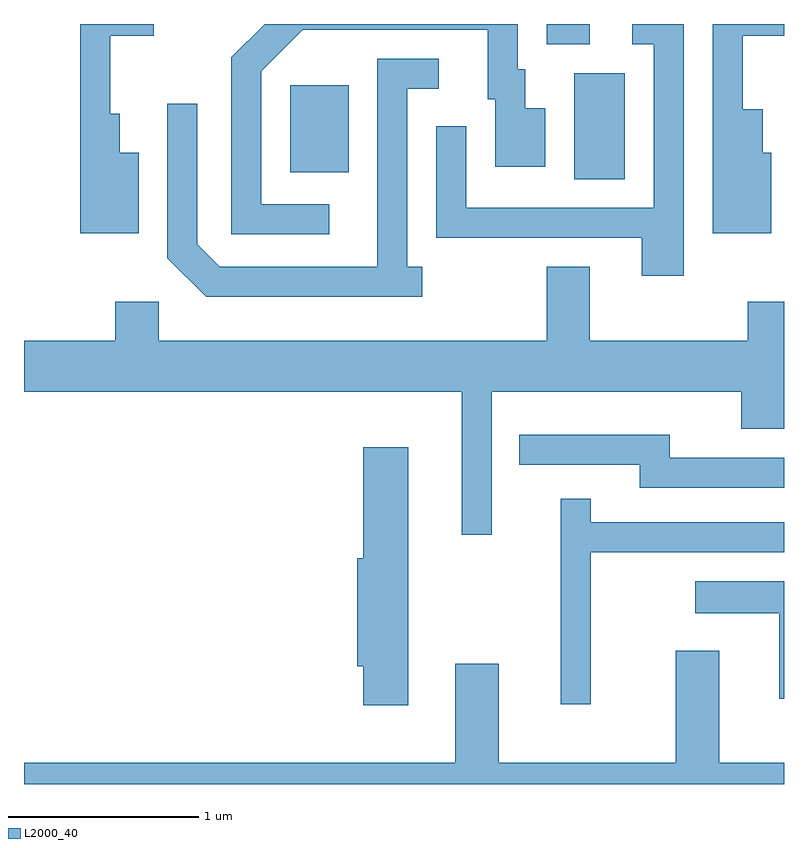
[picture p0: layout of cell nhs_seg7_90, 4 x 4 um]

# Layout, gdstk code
import gdstk
lib = gdstk.Library(unit=1e-6, precision=1e-09)
def R(c, l, rs):  # rectangles x0, y0, x1, y1
    for r in rs: c.add(gdstk.rectangle(r[:2], r[2:], *l))
def P(c, l, *ps):  # polygons
    for p in ps: c.add(gdstk.Polygon(p, *l))
L2000_40 = (2000, 40)

nhs_seg7_90 = lib.new_cell('nhs_seg7_90')
R(nhs_seg7_90, L2000_40, [(190.506,1715.436,190.774,1715.994), (189.011,1715.471,189.319,1715.929), (190.361,1716.146,190.589,1716.252)])
P(nhs_seg7_90, L2000_40, [(191.544,1715.574),(191.499,1715.574),(191.499,1715.804),(191.394,1715.804),(191.394,1716.191),(191.611,1716.191),(191.611,1716.252),(191.236,1716.252),(191.236,1715.151),(191.544,1715.151)],
  [(191.084,1716.252),(190.813,1716.252),(190.813,1716.146),(190.926,1716.146),(190.926,1715.284),(189.939,1715.284),(189.939,1715.713),(189.781,1715.713),(189.781,1715.126),(190.861,1715.126),(190.861,1714.926),(191.084,1714.926)],
  [(188.214,1715.574),(188.114,1715.574),(188.114,1715.779),(188.064,1715.779),(188.064,1716.191),(188.293,1716.191),(188.293,1716.252),(187.906,1716.252),(187.906,1715.151),(188.214,1715.151)],
  [(189.218,1715.304),(188.859,1715.304),(188.859,1716.004),(189.077,1716.221),(190.051,1716.221),(190.051,1715.856),(190.091,1715.856),(190.091,1715.501),(190.354,1715.501),(190.354,1715.809),(190.249,1715.809),(190.249,1716.014),(190.209,1716.014),(190.209,1716.252),(188.877,1716.252),(188.701,1716.077),(188.701,1715.146),(189.218,1715.146)],
  [(189.708,1714.974),(189.629,1714.974),(189.629,1715.911),(189.793,1715.911),(189.793,1716.069),(189.471,1716.069),(189.471,1714.974),(188.642,1714.974),(188.524,1715.092),(188.524,1715.833),(188.366,1715.833),(188.366,1715.019),(188.569,1714.816),(189.708,1714.816)],
  [(190.074,1714.316),(191.386,1714.316),(191.386,1714.121),(191.611,1714.121),(191.611,1714.789),(191.421,1714.789),(191.421,1714.584),(190.589,1714.584),(190.589,1714.974),(190.361,1714.974),(190.361,1714.584),(188.319,1714.584),(188.319,1714.789),(188.091,1714.789),(188.091,1714.584),(187.611,1714.584),(187.611,1714.316),(189.916,1714.316),(189.916,1713.563),(190.074,1713.563)],
  [(191.611,1713.969),(191.009,1713.969),(191.009,1714.089),(190.218,1714.089),(190.218,1713.931),(190.851,1713.931),(190.851,1713.811),(191.611,1713.811)],
  [(189.634,1714.024),(189.396,1714.024),(189.396,1713.439),(189.366,1713.439),(189.366,1712.871),(189.396,1712.871),(189.396,1712.666),(189.634,1712.666)],
  [(190.594,1713.471),(191.611,1713.471),(191.611,1713.629),(190.594,1713.629),(190.594,1713.753),(190.436,1713.753),(190.436,1712.673),(190.594,1712.673)],
  [(191.611,1713.319),(191.143,1713.319),(191.143,1713.151),(191.586,1713.151),(191.586,1712.701),(191.611,1712.701)],
  [(191.611,1712.364),(191.269,1712.364),(191.269,1712.954),(191.041,1712.954),(191.041,1712.364),(190.109,1712.364),(190.109,1712.884),(189.881,1712.884),(189.881,1712.364),(187.611,1712.364),(187.611,1712.252),(191.611,1712.252)])

lib.write_gds('nhs_seg7_90.gds')
